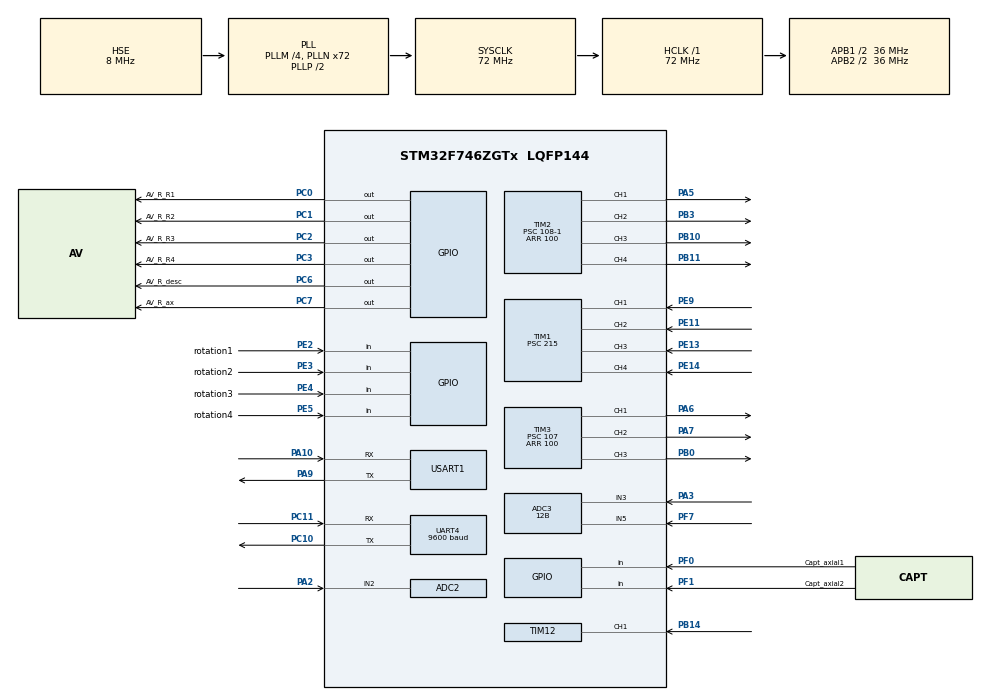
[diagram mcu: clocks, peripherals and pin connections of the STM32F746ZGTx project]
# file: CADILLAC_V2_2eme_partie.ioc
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ADC2.Channel-5\#ChannelRegularConversion=ADC_CHANNEL_2
ADC2.ClockPrescaler=ADC_CLOCK_SYNC_PCLK_DIV2
ADC2.ContinuousConvMode=ENABLE
ADC2.NbrOfConversionFlag=1
ADC2.Rank-5\#ChannelRegularConversion=1
ADC2.SamplingTime-5\#ChannelRegularConversion=ADC_SAMPLETIME_480CYCLES
ADC3.Channel-1\#ChannelRegularConversion=ADC_CHANNEL_3
ADC3.Channel-2\#ChannelRegularConversion=ADC_CHANNEL_5
ADC3.ContinuousConvMode=ENABLE
ADC3.DMAContinuousRequests=ENABLE
ADC3.EOCSelection=ADC_EOC_SINGLE_CONV
ADC3.NbrOfConversion=2
ADC3.NbrOfConversionFlag=1
ADC3.Rank-1\#ChannelRegularConversion=1
ADC3.Rank-2\#ChannelRegularConversion=2
ADC3.Resolution=ADC_RESOLUTION_12B
ADC3.SamplingTime-1\#ChannelRegularConversion=ADC_SAMPLETIME_480CYCLES
ADC3.SamplingTime-2\#ChannelRegularConversion=ADC_SAMPLETIME_480CYCLES
ADC3.ScanConvMode=ADC_SCAN_ENABLE
Dma.ADC3.2.Direction=DMA_PERIPH_TO_MEMORY
Dma.ADC3.2.FIFOMode=DMA_FIFOMODE_DISABLE
Dma.ADC3.2.Instance=DMA2_Stream0
Dma.ADC3.2.MemDataAlignment=DMA_MDATAALIGN_HALFWORD
Dma.ADC3.2.MemInc=DMA_MINC_ENABLE
Dma.ADC3.2.Mode=DMA_CIRCULAR
Dma.ADC3.2.PeriphDataAlignment=DMA_PDATAALIGN_HALFWORD
Dma.ADC3.2.PeriphInc=DMA_PINC_DISABLE
Dma.ADC3.2.Priority=DMA_PRIORITY_LOW
Dma.Request0=USART1_RX
Dma.Request1=USART1_TX
Dma.Request2=ADC3
Dma.USART1_RX.0.Direction=DMA_PERIPH_TO_MEMORY
Dma.USART1_RX.0.FIFOMode=DMA_FIFOMODE_DISABLE
Dma.USART1_RX.0.Instance=DMA2_Stream5
Dma.USART1_RX.0.MemDataAlignment=DMA_MDATAALIGN_BYTE
Dma.USART1_RX.0.MemInc=DMA_MINC_ENABLE
Dma.USART1_RX.0.Mode=DMA_CIRCULAR
Dma.USART1_RX.0.PeriphDataAlignment=DMA_PDATAALIGN_BYTE
Dma.USART1_RX.0.PeriphInc=DMA_PINC_DISABLE
Dma.USART1_RX.0.Priority=DMA_PRIORITY_LOW
Dma.USART1_TX.1.Direction=DMA_MEMORY_TO_PERIPH
Dma.USART1_TX.1.FIFOMode=DMA_FIFOMODE_DISABLE
Dma.USART1_TX.1.Instance=DMA2_Stream7
Dma.USART1_TX.1.MemDataAlignment=DMA_MDATAALIGN_BYTE
Dma.USART1_TX.1.MemInc=DMA_MINC_ENABLE
Dma.USART1_TX.1.Mode=DMA_CIRCULAR
Dma.USART1_TX.1.PeriphDataAlignment=DMA_PDATAALIGN_BYTE
Dma.USART1_TX.1.PeriphInc=DMA_PINC_DISABLE
Dma.USART1_TX.1.Priority=DMA_PRIORITY_LOW
Mcu.Family=STM32F7
Mcu.Name=STM32F746ZGTx
Mcu.Package=LQFP144
NVIC.DMA2_Stream0_IRQn=true\:0\:0\:false\:false\:true\:false\:true\:true
NVIC.DMA2_Stream5_IRQn=true\:0\:0\:false\:false\:true\:false\:true\:true
NVIC.DMA2_Stream7_IRQn=true\:0\:0\:false\:false\:true\:false\:true\:true
NVIC.PriorityGroup=NVIC_PRIORITYGROUP_4
NVIC.TIM1_CC_IRQn=true\:0\:0\:false\:false\:true\:true\:true\:true
NVIC.TIM8_BRK_TIM12_IRQn=true\:0\:0\:false\:false\:true\:true\:true\:true
NVIC.UART4_IRQn=true\:0\:0\:false\:false\:true\:true\:true\:true
NVIC.USART1_IRQn=true\:0\:0\:false\:false\:true\:true\:true\:true
PA10.Mode=Asynchronous
PA10.Signal=USART1_RX
PA13.Mode=Serial_Wire
PA13.Signal=SYS_JTMS-SWDIO
PA14.Mode=Serial_Wire
PA14.Signal=SYS_JTCK-SWCLK
PA2.Signal=ADCx_IN2
PA3.Signal=ADCx_IN3
PA5.Signal=S_TIM2_CH1_ETR
PA6.Signal=S_TIM3_CH1
PA7.Signal=S_TIM3_CH2
PA9.Mode=Asynchronous
PA9.Signal=USART1_TX
PB0.Signal=S_TIM3_CH3
PB10.Signal=S_TIM2_CH3
PB11.Signal=S_TIM2_CH4
PB14.Signal=S_TIM12_CH1
PB3.Signal=S_TIM2_CH2
PC0.GPIO_Label=AV_R_R1
PC0.GPIO_PuPd=GPIO_PULLDOWN
PC0.GPIO_Speed=GPIO_SPEED_FREQ_HIGH
PC0.Signal=GPIO_Output
PC1.GPIO_Label=AV_R_R2
PC1.GPIO_PuPd=GPIO_PULLDOWN
PC1.GPIO_Speed=GPIO_SPEED_FREQ_HIGH
PC1.Signal=GPIO_Output
PC10.Mode=Asynchronous
PC10.Signal=UART4_TX
PC11.Mode=Asynchronous
PC11.Signal=UART4_RX
PC2.GPIO_Label=AV_R_R3
PC2.GPIO_PuPd=GPIO_PULLDOWN
PC2.GPIO_Speed=GPIO_SPEED_FREQ_HIGH
PC2.Signal=GPIO_Output
PC3.GPIO_Label=AV_R_R4
PC3.GPIO_PuPd=GPIO_PULLDOWN
PC3.GPIO_Speed=GPIO_SPEED_FREQ_HIGH
PC3.Signal=GPIO_Output
PC6.GPIO_Label=AV_R_desc
PC6.GPIO_PuPd=GPIO_PULLDOWN
PC6.GPIO_Speed=GPIO_SPEED_FREQ_HIGH
PC6.Signal=GPIO_Output
PC7.GPIO_Label=AV_R_ax
PC7.GPIO_PuPd=GPIO_PULLDOWN
PC7.GPIO_Speed=GPIO_SPEED_FREQ_HIGH
PC7.Signal=GPIO_Output
PE11.Signal=S_TIM1_CH2
PE13.Signal=S_TIM1_CH3
PE14.Signal=S_TIM1_CH4
PE2.GPIO_Label=rotation1
PE2.GPIO_PuPd=GPIO_PULLDOWN
PE2.Signal=GPIO_Input
PE3.GPIO_Label=rotation2
PE3.GPIO_PuPd=GPIO_PULLDOWN
PE3.Signal=GPIO_Input
PE4.GPIO_Label=rotation3
PE4.GPIO_PuPd=GPIO_PULLDOWN
PE4.Signal=GPIO_Input
PE5.GPIO_Label=rotation4
PE5.GPIO_PuPd=GPIO_PULLDOWN
PE5.Signal=GPIO_Input
PE9.Signal=S_TIM1_CH1
PF0.GPIO_Label=Capt_axial1
PF0.GPIO_PuPd=GPIO_PULLDOWN
PF0.Signal=GPIO_Input
PF1.GPIO_Label=Capt_axial2
PF1.GPIO_PuPd=GPIO_PULLDOWN
PF1.Signal=GPIO_Input
PF7.Mode=IN5
PF7.Signal=ADC3_IN5
PH0/OSC_IN.GPIO_Label=MCO [STM32F103CBT6_PA8]
PH0/OSC_IN.Mode=HSE-External-Clock-Source
PH0/OSC_IN.Signal=RCC_OSC_IN
PH1/OSC_OUT.Mode=HSE-External-Clock-Source
PH1/OSC_OUT.Signal=RCC_OSC_OUT
ProjectManager.HeapSize=0x200
ProjectManager.StackSize=0x400
ProjectManager.TargetToolchain=STM32CubeIDE
RCC.48MHZClocksFreq_Value=24000000
RCC.AHBFreq_Value=72000000
RCC.APB1CLKDivider=RCC_HCLK_DIV2
RCC.APB1Freq_Value=36000000
RCC.APB1TimFreq_Value=72000000
RCC.APB2CLKDivider=RCC_HCLK_DIV2
RCC.APB2Freq_Value=36000000
RCC.APB2TimFreq_Value=72000000
RCC.CortexFreq_Value=72000000
RCC.HCLKFreq_Value=72000000
RCC.HSE_VALUE=8000000
RCC.HSI_VALUE=16000000
RCC.LSE_VALUE=32768
RCC.PLLM=4
RCC.PLLMUL=RCC_PLL_MUL9
RCC.PLLN=72
RCC.PLLQ=3
RCC.PLLSourceVirtual=RCC_PLLSOURCE_HSE
RCC.PRESCALERUSB=RCC_USBCLKSOURCE_PLL_DIV1_5
RCC.SYSCLKFreq_VALUE=72000000
RCC.SYSCLKSource=RCC_SYSCLKSOURCE_PLLCLK
RCC.SYSCLKSourceVirtual=RCC_SYSCLKSOURCE_PLLCLK
RCC.USBFreq_Value=48000000
RCC.VCOOutputFreq_Value=144000000
SH.ADCx_IN2.0=ADC2_IN2,IN2
SH.ADCx_IN3.0=ADC3_IN3,IN3
SH.S_TIM12_CH1.0=TIM12_CH1,Input_Capture1_from_TI1
SH.S_TIM1_CH1.0=TIM1_CH1,Input_Capture1_from_TI1
SH.S_TIM1_CH2.0=TIM1_CH2,Input_Capture2_from_TI2
SH.S_TIM1_CH3.0=TIM1_CH3,Input_Capture3_from_TI3
SH.S_TIM1_CH4.0=TIM1_CH4,Input_Capture4_from_TI4
SH.S_TIM2_CH1_ETR.0=TIM2_CH1,PWM Generation1 CH1
SH.S_TIM2_CH2.0=TIM2_CH2,PWM Generation2 CH2
SH.S_TIM2_CH3.0=TIM2_CH3,PWM Generation3 CH3
SH.S_TIM2_CH4.0=TIM2_CH4,PWM Generation4 CH4
SH.S_TIM3_CH1.0=TIM3_CH1,PWM Generation1 CH1
SH.S_TIM3_CH2.0=TIM3_CH2,PWM Generation2 CH2
SH.S_TIM3_CH3.0=TIM3_CH3,PWM Generation3 CH3
TIM1.Channel-Input_Capture1_from_TI1=TIM_CHANNEL_1
TIM1.Channel-Input_Capture2_from_TI2=TIM_CHANNEL_2
TIM1.Channel-Input_Capture3_from_TI3=TIM_CHANNEL_3
TIM1.Channel-Input_Capture4_from_TI4=TIM_CHANNEL_4
TIM1.ClockDivision=TIM_CLOCKDIVISION_DIV2
TIM1.ICFilter_CH1=12
TIM1.ICFilter_CH2=12
TIM1.ICFilter_CH3=12
TIM1.ICFilter_CH4=12
TIM1.Prescaler=215
TIM12.Channel-Input_Capture1_from_TI1=TIM_CHANNEL_1
TIM12.ClockDivision=TIM_CLOCKDIVISION_DIV2
TIM12.ICFilter_CH1=12
TIM12.Prescaler=215
TIM2.Channel-PWM\ Generation1\ CH1=TIM_CHANNEL_1
TIM2.Channel-PWM\ Generation2\ CH2=TIM_CHANNEL_2
TIM2.Channel-PWM\ Generation3\ CH3=TIM_CHANNEL_3
TIM2.Channel-PWM\ Generation4\ CH4=TIM_CHANNEL_4
TIM2.Period=100
TIM2.Prescaler=108-1
TIM3.Channel-PWM\ Generation1\ CH1=TIM_CHANNEL_1
TIM3.Channel-PWM\ Generation2\ CH2=TIM_CHANNEL_2
TIM3.Channel-PWM\ Generation3\ CH3=TIM_CHANNEL_3
TIM3.Period=100
TIM3.Prescaler=107
UART4.BaudRate=9600
USART1.VirtualMode-Asynchronous=VM_ASYNC
VP_TIM2_VS_ClockSourceINT.Mode=Internal
VP_TIM3_VS_ClockSourceINT.Mode=Internal
board=NUCLEO-F746ZG

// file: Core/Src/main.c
/* USER CODE BEGIN Header */
/**
  ******************************************************************************
  * @file           : main.c
  * @brief          : Main program body
  ******************************************************************************
  * @attention
  *
  * Copyright (c) 2024 STMicroelectronics.
  * All rights reserved.
  *
  * This software is licensed under terms that can be found in the LICENSE file
  * in the root directory of this software component.
  * If no LICENSE file comes with this software, it is provided AS-IS.
  *
  ******************************************************************************
  */
/* USER CODE END Header */
#include "main.h"
#include "adc.h"
#include "dma.h"
#include "tim.h"
#include "usart.h"
#include "gpio.h"

/* USER CODE BEGIN Includes */
#include "interruption.h"
#include "stdlib.h"

/* USER CODE END Includes */

/* USER CODE BEGIN PTD */
#define frequencyM1     1000/(periodMotor1)    // FREQUENCE DU L ENCODEUR 1
#define frequencyM2     1000/(periodMotor2)    // FREQUENCE DU L ENCODEUR 2
#define frequencyM3     1000/(periodMotor3)    // FREQUENCE DU L ENCODEUR 3
#define frequencyM4     1000/(periodMotor4)    // FREQUENCE DU L ENCODEUR 4
/* USER CODE END PTD */

/* USER CODE BEGIN PV */
float speedMotor1=0;
float speedMotor2=0;
float speedMotor3=0;
float speedMotor4=0;

uint16_t periodMotor1=0;
uint16_t periodMotor2=0;
uint16_t periodMotor3=0;
uint16_t periodMotor4=0;

volatile float Is_First_Captured1=0;// VARIABLE POUR TESTER SILE FRONT MONTANT DU L ENCODEUR 1 EST DETECTE
volatile float Is_First_Captured2=0;// VARIABLE POUR TESTER SILE FRONT MONTANT DU L ENCODEUR 2 EST DETECTE
volatile float Is_First_Captured3=0;// VARIABLE POUR TESTER SILE FRONT MONTANT DU L ENCODEUR 3 EST DETECTE
volatile float Is_First_Captured4=0;// VARIABLE POUR TESTER SILE FRONT MONTANT DU L ENCODEUR 4 EST DETECTE
volatile int IC1_Val1=0;        //VARIABLE POUR STOCKER LA VALEUR DU  FRONT MONTANT DU L ENCODEUR 1
volatile int IC2_Val1=0;        //VARIABLE POUR STOCKER LA VALEUR DU  FRONT MONTANT DU L ENCODEUR 2
volatile int IC3_Val1=0;        //VARIABLE POUR STOCKER LA VALEUR DU  FRONT MONTANT DU L ENCODEUR 3
volatile int IC4_Val1=0;        //VARIABLE POUR STOCKER LA VALEUR DU  FRONT MONTANT DU L ENCODEUR 4
 volatile int CountMR1=0; // NOMBRE D IMPULSION ENCODEUR1
 volatile int CountMR2=0; // NOMBRE D IMPULSION ENCODEUR2
 volatile int CountMR3=0; // NOMBRE D IMPULSION ENCODEUR3
 volatile int CountMR4=0; // NOMBRE D IMPULSION ENCODEUR4
 volatile float CourantR1;
 volatile float CourantR2;
 volatile float CourantR3;
 volatile float CourantR4;
 volatile float CourantDES;
uint16_t buffer2[1];
uint16_t buffer3[2];
int sum=0;
float PWM_MEULE;
int i=0;
uint8_t senddata[4] = {0x66, 0x42, 0x00, 0xA8};//TX UART avec bldc
uint8_t trame[10];//RX UART from bldc
uint8_t CUR_MTMeule;
int RawValueB;
int OffsetB;
float VoltageB;
float AmpCurrentB = 0;
uint16_t adc_samples[10];
float current;
float adc_average=0;
uint16_t readValue;
float sensitivity = 0.1; // 0.1 for 20A Model
float rawVoltage;
float current;
uint32_t adc_sum = 0;
/* USER CODE END PV */

void SystemClock_Config(void);

/* USER CODE BEGIN 0 */
float valeurACS712() {
	uint16_t  valeur;
  float moyenne = 0;

  int nbr_lectures = 200;
  for (int i = 0; i < nbr_lectures; i++) {
    valeur = HAL_ADC_GetValue(&hadc2);
    moyenne = moyenne + (valeur);
  }
  moyenne = moyenne / (nbr_lectures);
  return moyenne;
}

void readCourantC() {
  RawValueB = valeurACS712();
  VoltageB = (RawValueB  / 4096.0f) * 3.30f;  // voltage en mV
  AmpCurrentB = ((VoltageB -1.65)/ 0.066f);         // en A
}
void HAL_TIM_IC_CaptureCallback(TIM_HandleTypeDef *htim)

{

	  if(htim->Instance==TIM1)

	  {

            if(htim->Channel == HAL_TIM_ACTIVE_CHANNEL_1)	//Roleau1

				{
				Interruption_1();

					if (Is_First_Captured1 == 0)
						{
							IC1_Val1=HAL_GetTick();
							Is_First_Captured1++;
						}
					else if (Is_First_Captured1 == 1)
						{
							periodMotor1 = HAL_GetTick()-IC1_Val1;//periode1
							if(periodMotor1!=0)
							{
							  speedMotor1 = frequencyM1;
							}
							Is_First_Captured1 = 0;

						}

				}

	  		if(htim->Channel==HAL_TIM_ACTIVE_CHANNEL_2)//Roleau2
	  			  {
	  			     Interruption_2();

					   if (Is_First_Captured2 == 0)
						   {
								IC2_Val1=HAL_GetTick();
								Is_First_Captured2++;
						   }
						else if (Is_First_Captured2== 1)
							{
								periodMotor2 = HAL_GetTick()-IC2_Val1;//periode1periode1*0.5 both edge
							    if(periodMotor2!=0)
							    {
								  speedMotor2 = frequencyM2;
								}
								Is_First_Captured2 = 0;

							}

					}

	  		if(htim->Channel==HAL_TIM_ACTIVE_CHANNEL_3)//Roleau3
				{
				     Interruption_3();

					 if (Is_First_Captured3 == 0)
						{
							IC3_Val1=HAL_GetTick();
							Is_First_Captured3++;
						}
					 else if (Is_First_Captured3== 1)
						{
							periodMotor3 = HAL_GetTick()-IC3_Val1;//periode1
							if(periodMotor3!=0)
							{
							  speedMotor3 = frequencyM3;
							}
							Is_First_Captured3 = 0;

						}

				}
	  		if(htim->Channel==HAL_TIM_ACTIVE_CHANNEL_4)//Roleau4
				{
					Interruption_4();
	  			//  CountM6++;

					if (Is_First_Captured4 == 0)
					{
						IC4_Val1=HAL_GetTick();
						//timestamp1C1 = HAL_GetTick();
						Is_First_Captured4++;
					}
					else if (Is_First_Captured4== 1)
						{
							periodMotor4 = HAL_GetTick()-IC4_Val1;//periode1periode1*0.5 both edge
						    if(periodMotor4!=0)
						    {
							  speedMotor4 =frequencyM4;
						    }
						    Is_First_Captured4 = 0;

						}

	  			 }

	  	}

}

/*void HAL_ADC_ConvCpltCallback(ADC_HandleTypeDef* hadc)
{

	 if (hadc->Instance == ADC2)
	 	  {
			CourantR3=(( buffer2[0]*3.3f/ 4095.0f)-2.5f)/0.066f;

	     //   CourantR1=((buffer2[0]*3.3f/ 4095.0f)-2.5f)/0.066f;
	      //  CourantR2=((buffer2[1]*3.3f/ 4095.0f)-2.5f)/0.066f;
		//	CourantDES=((buffer2[3]*3.3f/ 4095.0f)-2.5f)/0.066f;

	 	  }

	   if (hadc->Instance == ADC3)
		 	  {

			      //    CourantR4=((buffer3[0]*3.3f/ 4095.0f)-2.5f)/0.066f;
			        //  PWM_MEULE=buffer3[1];

		 	  }

}*/

void HAL_UART_RxCpltCallback(UART_HandleTypeDef *huart)
  {

	HAL_UART_Receive_IT(&huart1,trame, 10);//sizeof(buffer));
	CUR_MTMeule= trame[9]/10.0;

  }

void sendParameter()
  {

     HAL_UART_Transmit_IT(&huart1, senddata, 4);
     HAL_Delay(100);

  }
void Commander_Moteuraxial()
  {

	 int v1 = HAL_GPIO_ReadPin(GPIOB, Capt_axial1_Pin);//PB2
	 int v2 = HAL_GPIO_ReadPin(GPIOF, Capt_axial2_Pin);//PF13

	   if(v1==GPIO_PIN_SET )
	   {

		  HAL_GPIO_WritePin(GPIOC,  AV_R_ax_Pin, RESET);//PE6
		  TIM3->CCR2=50;

	    }else if (v2 ==GPIO_PIN_SET)
	    {
	  		HAL_GPIO_WritePin(GPIOC,  AV_R_ax_Pin, SET);
			TIM3->CCR2=50;

	    }

  }
void ZERO_Mtmeuleuse(uint8_t PWM)
{
/*
while(CUR_MTP!=0xE1){
	TIM9->CCR2=PWM;

	   Regulation_Mt1(speedMotor1, speedMotor2, vitesseRef2, VBATT);
	   Regulation_Mt2(speedMotor2, speedMotor1, vitesseRef2, VBATT);
	   Regulation_Mt3(speedMotor3, speedMotor4, vitesseRef2, VBATT);
	   Regulation_Mt4(speedMotor4, speedMotor3, vitesseRef2, VBATT);
	   Regulation_Mt5(speedMotor5, speedMotor6, vitesseRef2, VBATT);
	   Regulation_Mt6(speedMotor6, speedMotor5, vitesseRef2, VBATT);
}

TIM9->CCR2=0;*/

}

/* USER CODE END 0 */

int main(void)
{

  /* MCU Configuration--------------------------------------------------------*/

  /* Reset of all peripherals, Initializes the Flash interface and the Systick. */
  HAL_Init();

  /* Configure the system clock */
  SystemClock_Config();

  /* Initialize all configured peripherals */
  MX_GPIO_Init();
  MX_DMA_Init();
  MX_ADC2_Init();
  MX_TIM1_Init();
  MX_TIM2_Init();
  MX_TIM3_Init();
  MX_USART1_UART_Init();
  MX_UART4_Init();
  MX_ADC3_Init();
  MX_TIM12_Init();
  /* USER CODE BEGIN 2 */
	//moteur1
  	HAL_TIM_IC_Start_IT(&htim1, TIM_CHANNEL_1);//PE9
  	//moteur2
  	HAL_TIM_IC_Start_IT(&htim1, TIM_CHANNEL_2);//PE11
  	//moteur3
  	HAL_TIM_IC_Start_IT(&htim1, TIM_CHANNEL_3);//PE13
  	//moteur4
  	HAL_TIM_IC_Start_IT(&htim1, TIM_CHANNEL_4);//PE14

  	HAL_TIM_PWM_Start(&htim2, TIM_CHANNEL_1);//MT1
  	HAL_TIM_PWM_Start(&htim2, TIM_CHANNEL_2);//MT2
  	HAL_TIM_PWM_Start(&htim2, TIM_CHANNEL_3);//MT3
  	HAL_TIM_PWM_Start(&htim2, TIM_CHANNEL_4);//MT4

  	HAL_TIM_PWM_Start(&htim3, TIM_CHANNEL_1);//MT
  	HAL_TIM_PWM_Start(&htim3, TIM_CHANNEL_2);//MT_AXIAL
  	HAL_TIM_PWM_Start(&htim3, TIM_CHANNEL_3);//MT

	//HAL_ADC_Start_DMA(&hadc2,(uint32_t *)buffer2,  1);//VR2   VR3
	//HAL_ADC_Start_DMA(&hadc3,(uint32_t *)buffer3, 2);// V4  & Potentio

	HAL_UART_Receive_IT(&huart1,trame, 10);//sizeof(buffer));
	  HAL_ADC_Start(&hadc2);

  /* USER CODE END 2 */

  /* Infinite loop */
  while (1)
  {

    /* USER CODE BEGIN 3 */

	        HAL_ADC_Start(&hadc3);
		   HAL_ADC_PollForConversion(&hadc3, 10);

		   readValue = HAL_ADC_GetValue (&hadc3);
		   VoltageB = (float) (readValue*3.3)/4095.0f;
		   current = (VoltageB - 2.5 )/0.066f;
		   HAL_Delay(10);
  }
  /* USER CODE END 3 */
}

void SystemClock_Config(void)
{
  RCC_OscInitTypeDef RCC_OscInitStruct = {0};
  RCC_ClkInitTypeDef RCC_ClkInitStruct = {0};

  /** Configure the main internal regulator output voltage
  */
  __HAL_RCC_PWR_CLK_ENABLE();
  __HAL_PWR_VOLTAGESCALING_CONFIG(PWR_REGULATOR_VOLTAGE_SCALE3);

  /** Initializes the RCC Oscillators according to the specified parameters
  * in the RCC_OscInitTypeDef structure.
  */
  RCC_OscInitStruct.OscillatorType = RCC_OSCILLATORTYPE_HSE;
  RCC_OscInitStruct.HSEState = RCC_HSE_BYPASS;
  RCC_OscInitStruct.PLL.PLLState = RCC_PLL_ON;
  RCC_OscInitStruct.PLL.PLLSource = RCC_PLLSOURCE_HSE;
  RCC_OscInitStruct.PLL.PLLM = 4;
  RCC_OscInitStruct.PLL.PLLN = 72;
  RCC_OscInitStruct.PLL.PLLP = RCC_PLLP_DIV2;
  RCC_OscInitStruct.PLL.PLLQ = 3;
  if (HAL_RCC_OscConfig(&RCC_OscInitStruct) != HAL_OK)
  {
    Error_Handler();
  }

  /** Initializes the CPU, AHB and APB buses clocks
  */
  RCC_ClkInitStruct.ClockType = RCC_CLOCKTYPE_HCLK|RCC_CLOCKTYPE_SYSCLK
                              |RCC_CLOCKTYPE_PCLK1|RCC_CLOCKTYPE_PCLK2;
  RCC_ClkInitStruct.SYSCLKSource = RCC_SYSCLKSOURCE_PLLCLK;
  RCC_ClkInitStruct.AHBCLKDivider = RCC_SYSCLK_DIV1;
  RCC_ClkInitStruct.APB1CLKDivider = RCC_HCLK_DIV2;
  RCC_ClkInitStruct.APB2CLKDivider = RCC_HCLK_DIV2;

  if (HAL_RCC_ClockConfig(&RCC_ClkInitStruct, FLASH_LATENCY_2) != HAL_OK)
  {
    Error_Handler();
  }
}

void Error_Handler(void)
{
  __disable_irq();
  while (1)
  {
  }
}
